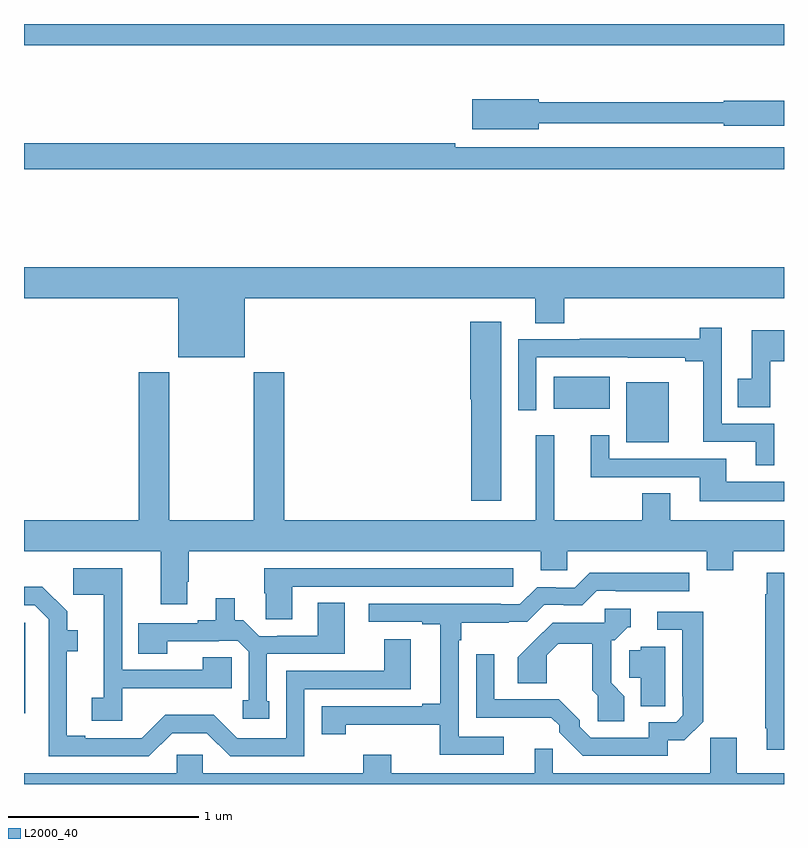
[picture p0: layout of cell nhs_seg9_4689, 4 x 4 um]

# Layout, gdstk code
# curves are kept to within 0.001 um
import gdstk
lib = gdstk.Library(unit=1e-6, precision=1e-09)
def R(c, l, rs):  # rectangles x0, y0, x1, y1
    for r in rs: c.add(gdstk.rectangle(r[:2], r[2:], *l))
def P(c, l, *ps):  # polygons
    for p in ps: c.add(gdstk.Polygon(p, *l))
L2000_40 = (2000, 40)

nhs_seg9_4689 = lib.new_cell('nhs_seg9_4689')
R(nhs_seg9_4689, L2000_40, [(381,1224.873,381.006,1225.35), (384.17,1226.3,384.394,1226.614), (383.789,1226.474,384.082,1226.644), (381,1228.388,385,1228.5)])
P(nhs_seg9_4689, L2000_40, [(383.71,1227.978),(384.684,1227.978),(384.684,1227.965),(385,1227.965),(385,1228.095),(384.684,1228.095),(384.684,1228.087),(383.71,1228.087),(383.71,1228.105),(383.358,1228.105),(383.358,1227.947),(383.71,1227.947)],
  [(385,1227.852),(383.27,1227.852),(383.27,1227.872),(381,1227.872),(381,1227.736),(385,1227.736)],
  [(382.162,1227.056),(383.69,1227.056),(383.69,1226.926),(383.843,1226.926),(383.843,1227.056),(385,1227.056),(385,1227.22),(381,1227.22),(381,1227.056),(381.812,1227.056),(381.812,1226.747),(382.162,1226.747)],
  [(383.512,1226.932),(383.348,1226.932),(383.348,1226.526),(383.354,1226.526),(383.354,1225.992),(383.512,1225.992)],
  [(384.949,1226.397),(384.672,1226.397),(384.672,1226.902),(384.556,1226.902),(384.556,1226.843),(383.926,1226.843),(383.926,1226.841),(383.601,1226.841),(383.601,1226.466),(383.697,1226.466),(383.697,1226.745),(384.178,1226.745),(384.178,1226.744),(384.479,1226.744),(384.479,1226.725),(384.575,1226.725),(384.575,1226.301),(384.851,1226.301),(384.851,1226.177),(384.949,1226.177)],
  [(384.927,1226.726),(385,1226.726),(385,1226.887),(384.83,1226.887),(384.83,1226.634),(384.757,1226.634),(384.757,1226.482),(384.927,1226.482)],
  [(381.859,1225.564),(381.867,1225.564),(381.867,1225.724),(383.72,1225.724),(383.72,1225.626),(383.859,1225.626),(383.859,1225.724),(384.593,1225.724),(384.593,1225.625),(384.733,1225.625),(384.733,1225.724),(385,1225.724),(385,1225.888),(384.4,1225.888),(384.4,1226.03),(384.253,1226.03),(384.253,1225.888),(383.792,1225.888),(383.792,1226.335),(383.693,1226.335),(383.693,1225.888),(382.37,1225.888),(382.37,1226.668),(382.21,1226.668),(382.21,1225.888),(381.765,1225.888),(381.765,1226.668),(381.605,1226.668),(381.605,1225.888),(381,1225.888),(381,1225.724),(381.719,1225.724),(381.719,1225.446),(381.859,1225.446)],
  [(385,1226.092),(384.697,1226.092),(384.697,1226.211),(384.081,1226.211),(384.081,1226.335),(383.984,1226.335),(383.984,1226.115),(384.557,1226.115),(384.557,1225.988),(385,1225.988)],
  [(381.516,1225.004),(381.983,1225.004),(381.983,1225.005),(382.093,1225.005),(382.093,1225.166),(381.94,1225.166),(381.94,1225.101),(381.516,1225.101),(381.516,1225.636),(381.258,1225.636),(381.258,1225.497),(381.419,1225.497),(381.419,1224.954),(381.357,1224.954),(381.357,1224.834),(381.516,1224.834)],
  [(382.411,1225.539),(383.575,1225.539),(383.575,1225.635),(382.264,1225.635),(382.264,1225.503),(382.273,1225.503),(382.273,1225.366),(382.411,1225.366)],
  [(385,1225.612),(384.908,1225.612),(384.908,1225.499),(384.901,1225.499),(384.901,1224.793),(384.908,1224.793),(384.908,1224.681),(385,1224.681)],
  [(383.524,1224.75),(383.289,1224.75),(383.289,1225.256),(383.302,1225.256),(383.302,1225.35),(383.552,1225.35),(383.552,1225.353),(383.649,1225.353),(383.739,1225.443),(383.84,1225.443),(383.84,1225.44),(383.937,1225.44),(384.015,1225.518),(384.115,1225.518),(384.115,1225.515),(384.502,1225.515),(384.502,1225.611),(383.977,1225.612),(383.898,1225.533),(383.798,1225.533),(383.798,1225.536),(383.7,1225.536),(383.61,1225.446),(383.51,1225.446),(383.51,1225.449),(382.815,1225.449),(382.815,1225.353),(383.096,1225.353),(383.096,1225.341),(383.192,1225.341),(383.192,1224.922),(383.096,1224.922),(383.096,1224.909),(382.566,1224.909),(382.566,1224.762),(382.694,1224.762),(382.694,1224.812),(383.188,1224.812),(383.188,1224.654),(383.524,1224.654)],
  [(381.78,1224.768),(381.963,1224.768),(382.086,1224.645),(382.476,1224.645),(382.476,1224.999),(383.035,1224.999),(383.035,1225.261),(382.895,1225.261),(382.895,1225.095),(382.38,1225.095),(382.38,1224.741),(382.122,1224.741),(381.998,1224.865),(381.744,1224.865),(381.62,1224.741),(381.322,1224.741),(381.322,1224.754),(381.226,1224.754),(381.226,1225.2),(381.283,1225.2),(381.283,1225.31),(381.227,1225.31),(381.227,1225.408),(381.097,1225.538),(381,1225.538),(381,1225.44),(381.057,1225.44),(381.129,1225.368),(381.129,1224.645),(381.657,1224.645)],
  [(382.291,1224.936),(382.278,1224.936),(382.278,1225.185),(382.687,1225.185),(382.687,1225.454),(382.547,1225.454),(382.547,1225.281),(382.333,1225.281),(382.333,1225.278),(382.239,1225.278),(382.155,1225.362),(382.108,1225.362),(382.108,1225.477),(382.01,1225.477),(382.01,1225.362),(381.914,1225.362),(381.914,1225.347),(381.601,1225.347),(381.601,1225.186),(381.753,1225.186),(381.753,1225.251),(382.025,1225.251),(382.025,1225.254),(382.125,1225.254),(382.182,1225.197),(382.182,1224.942),(382.152,1224.942),(382.152,1224.843),(382.291,1224.843)],
  [(384.16,1224.962),(384.09,1225.032),(384.09,1225.257),(384.108,1225.257),(384.177,1225.326),(384.193,1225.326),(384.193,1225.422),(384.057,1225.422),(384.057,1225.35),(383.783,1225.35),(383.686,1225.253),(383.685,1225.254),(383.598,1225.166),(383.598,1225.03),(383.752,1225.03),(383.752,1225.178),(383.813,1225.239),(383.992,1225.239),(383.992,1224.994),(384.021,1224.965),(384.021,1224.831),(384.16,1224.831)],
  [(384.387,1224.729),(384.476,1224.729),(384.576,1224.828),(384.576,1225.019),(384.574,1225.019),(384.574,1225.407),(384.333,1225.407),(384.333,1225.311),(384.465,1225.311),(384.465,1224.961),(384.468,1224.961),(384.468,1224.861),(384.432,1224.825),(384.288,1224.825),(384.288,1224.744),(383.982,1224.744),(383.925,1224.801),(383.925,1224.835),(383.815,1224.945),(383.475,1224.945),(383.475,1225.183),(383.379,1225.183),(383.379,1224.849),(383.776,1224.848),(383.817,1224.808),(383.817,1224.773),(383.942,1224.648),(384.387,1224.648)],
  [(384.375,1225.222),(384.246,1225.222),(384.246,1225.203),(384.186,1225.203),(384.186,1225.058),(384.245,1225.058),(384.245,1224.91),(384.375,1224.91)],
  [(385,1224.556),(384.751,1224.556),(384.751,1224.744),(384.613,1224.744),(384.613,1224.556),(383.783,1224.556),(383.783,1224.686),(383.687,1224.686),(383.687,1224.556),(382.933,1224.556),(382.933,1224.655),(382.786,1224.655),(382.786,1224.556),(381.942,1224.556),(381.942,1224.654),(381.804,1224.654),(381.804,1224.556),(381,1224.556),(381,1224.5),(385,1224.5)])

lib.write_gds('nhs_seg9_4689.gds')
